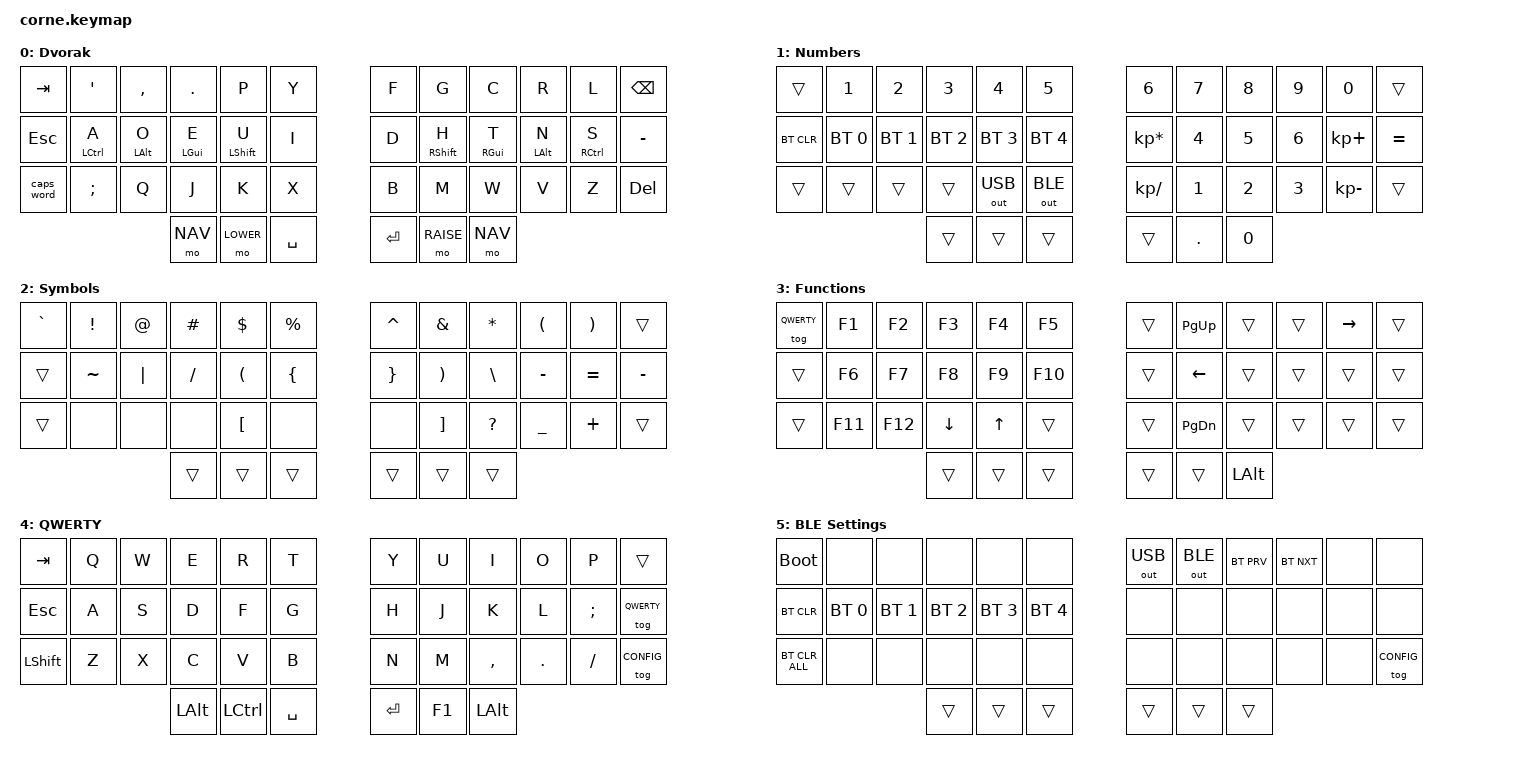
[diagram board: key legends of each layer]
/*o
 * Copyright (c) 2020 The ZMK Contributors
 *
 * SPDX-License-Identifier: MIT
 */

#include <behaviors.dtsi>
#include <dt-bindings/zmk/keys.h>
#include <dt-bindings/zmk/bt.h>
#include <dt-bindings/zmk/outputs.h>

#define DVORAK 0
#define LOWER 1
#define RAISE 2
#define NAV 3
#define QWERTY 4
#define CONFIG 5

/*
 * Approximate the QMK home-row mods configured with:
 *
 *   CHORDAL_HOLD
 *   TAPPING_TERM 175 (raised to 280 ms in ZMK to protect same-hand rolls)
 *   QUICK_TAP_TERM 0
 *
 * Opposite-hand chords trigger the modifier hold. Same-hand rolls are biased
 * toward letters unless the home-row key is held past the tapping term.
 */
/ {
        behaviors {
                lhm: left_home_row_mod {
                        compatible = "zmk,behavior-hold-tap";
                        #binding-cells = <2>;
                        flavor = "balanced";
                        tapping-term-ms = <280>;
                        quick-tap-ms = <175>;
                        require-prior-idle-ms = <75>; //was 150 default
                        bindings = <&kp>, <&kp>;
                        hold-trigger-key-positions = <
                                6 7 8 9 10 11
                                18 19 20 21 22 23
                                30 31 32 33 34 35
                                39 40 41
                        >;
                        hold-trigger-on-release;
                };

                rhm: right_home_row_mod {
                        compatible = "zmk,behavior-hold-tap";
                        #binding-cells = <2>;
                        flavor = "balanced";
                        tapping-term-ms = <280>;
                        quick-tap-ms = <175>;
                        require-prior-idle-ms = <75>;
                        bindings = <&kp>, <&kp>;
                        hold-trigger-key-positions = <
                                0 1 2 3 4 5
                                12 13 14 15 16 17
                                24 25 26 27 28 29
                                36 37 38
                        >;
                        hold-trigger-on-release;
                };
        };

        keymap {
                compatible = "zmk,keymap";

                default_layer {
                        display-name = "Dvorak";
// -----------------------------------------------------------------------------------------
// |  TAB |  '  |  ,  |  .  |  P  |  Y  |   |  F  |  G  |  C  |  R  |  L  | BSPC |
// | ESC  | A/CT| O/AL| E/GU| U/SH|  I  |   |  D  | H/SH| T/GU| N/AL| S/CT|  -   |
// | CAPS |  ;  |  Q  |  J  |  K  |  X  |   |  B  |  M  |  W  |  V  |  Z  | DEL  |
//                    | NAV | LWR | SPC |   | ENT | RSE | NAV |
                        bindings = <
   &kp TAB       &kp SQT        &kp COMMA      &kp DOT        &kp P          &kp Y          &kp F          &kp G          &kp C          &kp R          &kp L          &kp BSPC
   &kp ESC       &lhm LCTRL A   &lhm LALT O    &lhm LGUI E    &lhm LSHFT U   &kp I          &kp D          &rhm RSHFT H   &rhm RGUI T    &rhm LALT N    &rhm RCTRL S   &kp MINUS
   &caps_word    &kp SEMI       &kp Q          &kp J          &kp K          &kp X          &kp B          &kp M          &kp W          &kp V          &kp Z          &kp DEL
                                                    &mo NAV       &mo LOWER     &kp SPACE      &kp RET        &mo RAISE     &mo NAV
                        >;
                };

                lower_layer {
                        display-name = "Numbers";
// -----------------------------------------------------------------------------------------
// |      |  1  |  2  |  3  |  4  |  5  |   |  6  |  7  |  8  |  9  |  0  |      |
// | BTCLR| BT1 | BT2 | BT3 | BT4 | BT5 |   |  *  |  4  |  5  |  6  |  +  |  =   |
// |      |     |     |     |     |     |   |  /  |  1  |  2  |  3  |  -  |      |
//                    |     |     |     |   |     |  .  |  0  |
                        bindings = <
   &trans        &kp N1         &kp N2         &kp N3         &kp N4         &kp N5         &kp N6         &kp N7         &kp N8         &kp N9         &kp N0         &trans
   &bt BT_CLR    &bt BT_SEL 0   &bt BT_SEL 1   &bt BT_SEL 2   &bt BT_SEL 3   &bt BT_SEL 4   &kp KP_MULTIPLY &kp N4        &kp N5        &kp N6        &kp KP_PLUS    &kp EQUAL
   &trans        &trans         &trans         &trans         &out OUT_USB   &out OUT_BLE   &kp KP_DIVIDE   &kp N1        &kp N2        &kp N3        &kp KP_MINUS   &trans
                                                    &trans        &trans          &trans          &trans          &kp DOT        &kp N0
                        >;
                };

                raise_layer {
                        display-name = "Symbols";
// -----------------------------------------------------------------------------------------
// |  `  |  !  |  @  |  #  |  $  |  %  |   |  ^  |  &  |  *  |  (  |  )  |      |
// |     |  ~  |  |  |  /  |  (  |  {  |   |  }  |  )  |  \  |  -  |  =  |  -   |
// |     | XXX | XXX | XXX |  [  | XXX |   | XXX |  ]  |  ?  |  _  |  +  |      |
//                    |     |     |     |   |     |     |     |
                        bindings = <
   &kp GRAVE     &kp EXCL        &kp AT          &kp HASH        &kp DLLR        &kp PRCNT       &kp CARET       &kp AMPS        &kp ASTRK       &kp LPAR        &kp RPAR        &trans
   &trans        &kp TILDE       &kp PIPE        &kp FSLH        &kp LPAR        &kp LBRC        &kp RBRC        &kp RPAR        &kp BSLH        &kp MINUS       &kp EQUAL       &kp MINUS
   &trans        &none           &none           &none           &kp LBKT        &none           &none           &kp RBKT        &kp QUESTION    &kp UNDER       &kp PLUS        &trans
                                                    &trans        &trans          &trans          &trans          &trans          &trans
                        >;
                };

                nav_layer {
                        display-name = "Functions";
// -----------------------------------------------------------------------------------------
// | QWERTY| F1 | F2 | F3 | F4 | F5 |   |     | PGUP |     |     | RIGHT |     |
// |       | F6 | F7 | F8 | F9 |F10 |   |     | LEFT |     |     |       |     |
// |       |F11 |F12 | DWN| UP |    |   |     | PGDN |     |     |       |     |
//                    |    |    |    |   |     |      | ALT |
                        bindings = <
   &tog QWERTY   &kp F1          &kp F2          &kp F3          &kp F4          &kp F5          &trans          &kp PG_UP       &trans          &trans          &kp RIGHT       &trans
   &trans        &kp F6          &kp F7          &kp F8          &kp F9          &kp F10         &trans          &kp LEFT        &trans          &trans          &trans          &trans
   &trans        &kp F11         &kp F12         &kp DOWN        &kp UP          &trans          &trans          &kp PG_DN       &trans          &trans          &trans          &trans
                                                    &trans        &trans          &trans          &trans          &trans          &kp LALT
                        >;
                };

                qwerty_layer {
                        display-name = "QWERTY";
// -----------------------------------------------------------------------------------------
// | TAB | Q | W | E | R | T |   | Y | U | I | O | P |      |
// | ESC | A | S | D | F | G |   | H | J | K | L | ; | DVOR |
// | SHFT| Z | X | C | V | B |   | N | M | , | . | / | CONF |
//                  | ALT | CTRL | SPC |   | ENT | F1 | ALT |
                        bindings = <
   &kp TAB       &kp Q           &kp W           &kp E           &kp R           &kp T           &kp Y           &kp U           &kp I           &kp O           &kp P           &trans
   &kp ESC       &kp A           &kp S           &kp D           &kp F           &kp G           &kp H           &kp J           &kp K           &kp L           &kp SEMI        &tog QWERTY
   &kp LSHFT     &kp Z           &kp X           &kp C           &kp V           &kp B           &kp N           &kp M           &kp COMMA       &kp DOT         &kp FSLH        &tog CONFIG
                                                    &kp LALT      &kp LCTRL       &kp SPACE       &kp RET         &kp F1          &kp LALT
                        >;
                };

                config_layer {
                        display-name = "BLE Settings";
// -----------------------------------------------------------------------------------------
// | BOOT |     |     |     |     |     |   | USB | BLE | BTPRV | BTNEXT |     |     |
// | BTCLR| BT1 | BT2 | BT3 | BT4 | BT5 |   |     |     |       |        |     |     |
// |CLRALL|     |     |     |     |     |   |     |     |       |        |     | EXIT|
//                    |     |     |     |   |     |      |     |
                        bindings = <
   &bootloader   &none           &none           &none           &none           &none           &out OUT_USB    &out OUT_BLE    &bt BT_PRV      &bt BT_NXT      &none           &none
   &bt BT_CLR    &bt BT_SEL 0    &bt BT_SEL 1    &bt BT_SEL 2    &bt BT_SEL 3    &bt BT_SEL 4    &none           &none           &none           &none           &none           &none
   &bt BT_CLR_ALL &none          &none           &none           &none           &none           &none           &none           &none           &none           &none           &tog CONFIG
                                                    &trans        &trans          &trans          &trans          &trans          &trans
                        >;
                };
        };
};
